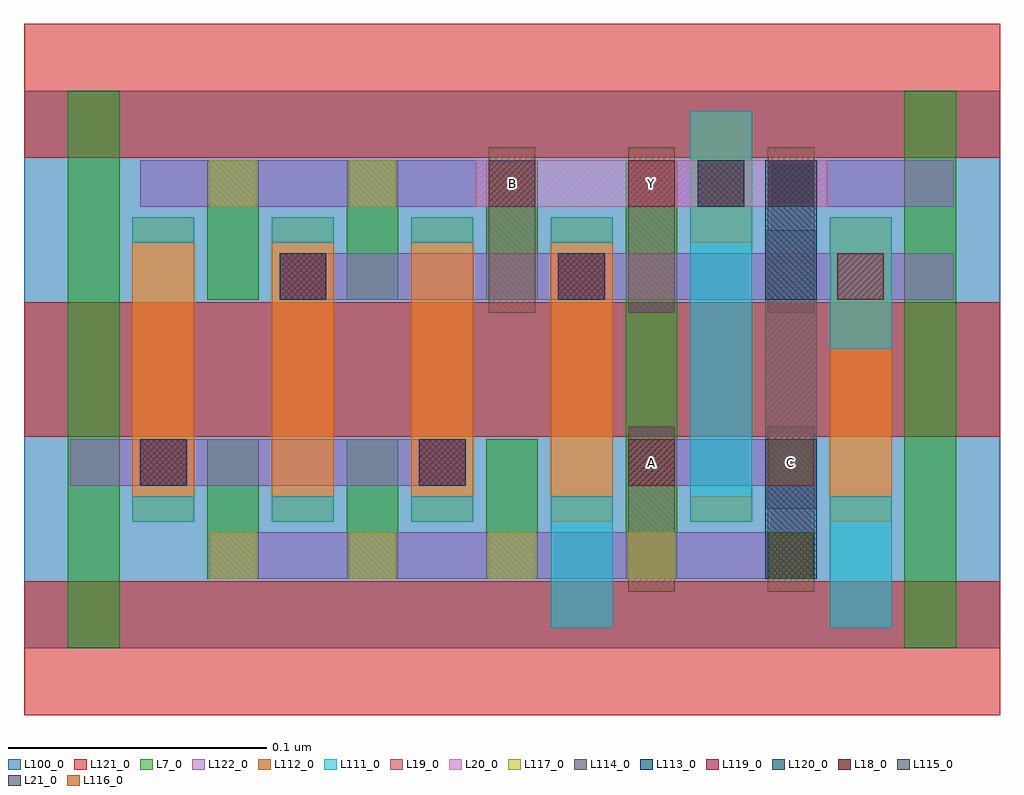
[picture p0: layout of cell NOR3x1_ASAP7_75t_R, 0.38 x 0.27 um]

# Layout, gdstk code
import gdstk
lib = gdstk.Library(unit=1e-6, precision=2.5e-10)
def R(c, l, rs):  # rectangles x0, y0, x1, y1
    for r in rs: c.add(gdstk.rectangle(r[:2], r[2:], *l))
def A(c, l, x, y, w, h, nx, ny, dx, dy):  # array of equal rectangles
    R(c, l, [(x+i*dx, y+j*dy, x+i*dx+w, y+j*dy+h) for i in range(nx) for j in range(ny)])
L7_0 = (7, 0)
L18_0 = (18, 0)
L19_0 = (19, 0)
L20_0 = (20, 0)
L21_0 = (21, 0)
L100_0 = (100, 0)
L111_0 = (111, 0)
L112_0 = (112, 0)
L113_0 = (113, 0)
L114_0 = (114, 0)
L115_0 = (115, 0)
L116_0 = (116, 0)
L117_0 = (117, 0)
L119_0 = (119, 0)
L120_0 = (120, 0)
L121_0 = (121, 0)
L122_0 = (122, 0)

nor3x1_asap7_75t_r = lib.new_cell('NOR3x1_ASAP7_75t_R')
A(nor3x1_asap7_75t_r, L7_0, 0.071, 0.027, 0.02, 0.054, 3, 2, 0.054, 0.108)
R(nor3x1_asap7_75t_r, L7_0, [(0.017,0,0.037,0.108), (0.341,0,0.361,0.108), (0.233,0.027,0.253,0.108), (0.017,0.108,0.037,0.216), (0.233,0.108,0.253,0.189), (0.341,0.108,0.361,0.216)])
A(nor3x1_asap7_75t_r, L18_0, 0.18, 0.171, 0.018, 0.018, 3, 1, 0.054, 0)
R(nor3x1_asap7_75t_r, L18_0, [(0.288,0.027,0.306,0.045), (0.234,0.063,0.252,0.081)])
A(nor3x1_asap7_75t_r, L19_0, 0.18, 0.13, 0.018, 0.064, 3, 1, 0.054, 0)
R(nor3x1_asap7_75t_r, L19_0, [(0.234,0.022,0.252,0.086), (0.288,0.022,0.306,0.086)])
R(nor3x1_asap7_75t_r, L20_0, [(0.175,0.171,0.311,0.189)])
R(nor3x1_asap7_75t_r, L21_0, [(0.18,0.171,0.198,0.189), (0.288,0.171,0.306,0.189)])
R(nor3x1_asap7_75t_r, L100_0, [(0,0,0.378,0.216)])
A(nor3x1_asap7_75t_r, L111_0, 0.042, 0.049, 0.024, 0.01, 3, 1, 0.054, 0)
A(nor3x1_asap7_75t_r, L111_0, 0.042, 0.157, 0.024, 0.01, 4, 1, 0.054, 0)
R(nor3x1_asap7_75t_r, L111_0, [(0.204,0.008,0.228,0.059), (0.312,0.008,0.336,0.059), (0.258,0.049,0.282,0.108), (0.258,0.108,0.282,0.208), (0.312,0.116,0.336,0.167)])
A(nor3x1_asap7_75t_r, L112_0, 0.042, 0.049, 0.024, 0.059, 4, 2, 0.054, 0.059)
R(nor3x1_asap7_75t_r, L112_0, [(0.258,0.049,0.282,0.059), (0.312,0.049,0.336,0.108), (0.312,0.108,0.336,0.167), (0.258,0.157,0.282,0.208)])
R(nor3x1_asap7_75t_r, L113_0, [(0.287,0.027,0.307,0.081), (0.287,0.135,0.307,0.189)])
R(nor3x1_asap7_75t_r, L114_0, [(0.287,0.054,0.307,0.108), (0.287,0.108,0.307,0.162)])
R(nor3x1_asap7_75t_r, L115_0, [(0.288,0.027,0.306,0.045), (0.288,0.171,0.306,0.189)])
R(nor3x1_asap7_75t_r, L116_0, [(0.288,0.063,0.306,0.081)])
A(nor3x1_asap7_75t_r, L117_0, 0.072, 0.027, 0.018, 0.018, 4, 1, 0.054, 0)
A(nor3x1_asap7_75t_r, L117_0, 0.072, 0.171, 0.018, 0.018, 3, 1, 0.054, 0)
A(nor3x1_asap7_75t_r, L119_0, 0.099, 0.135, 0.018, 0.018, 3, 1, 0.108, 0)
R(nor3x1_asap7_75t_r, L119_0, [(0.045,0.063,0.063,0.081), (0.153,0.063,0.171,0.081), (0.261,0.171,0.279,0.189)])
R(nor3x1_asap7_75t_r, L120_0, [(0.045,0.063,0.063,0.081), (0.153,0.063,0.171,0.081), (0.099,0.135,0.117,0.153), (0.207,0.135,0.225,0.153), (0.261,0.171,0.279,0.189)])
A(nor3x1_asap7_75t_r, L121_0, 0, -0.026, 0.378, 0.052, 1, 3, 0, 0.108)
R(nor3x1_asap7_75t_r, L122_0, [(0.072,0.027,0.306,0.045), (0.018,0.063,0.171,0.081), (0.234,0.063,0.306,0.081), (0.099,0.135,0.36,0.153), (0.045,0.171,0.198,0.189), (0.234,0.171,0.279,0.189), (0.288,0.171,0.36,0.189)])
nor3x1_asap7_75t_r.add(gdstk.Label('Y', (0.243,0.18), layer=19, texttype=251))
nor3x1_asap7_75t_r.add(gdstk.Label('C', (0.297,0.072), layer=19, texttype=251))
nor3x1_asap7_75t_r.add(gdstk.Label('B', (0.189,0.18), layer=19, texttype=251))
nor3x1_asap7_75t_r.add(gdstk.Label('A', (0.243,0.072), layer=19, texttype=251))

lib.write_gds('NOR3x1_ASAP7_75t_R.gds')
